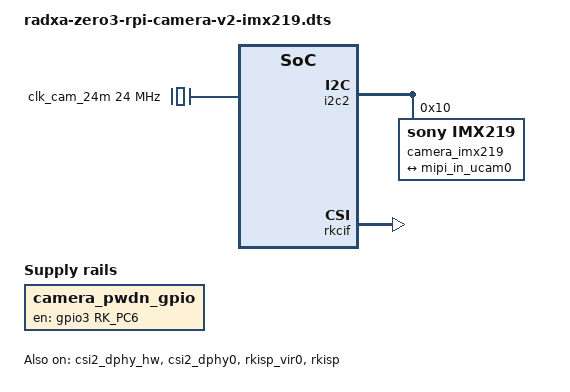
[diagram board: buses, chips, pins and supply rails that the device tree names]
/dts-v1/;
/plugin/;

#include <dt-bindings/gpio/gpio.h>
#include <dt-bindings/pinctrl/rockchip.h>

/ {
	metadata {
		title = "Enable Raspberry Pi Camera v2 (IMX219)";
		compatible = "radxa,zero3";
		category = "camera";
		exclusive = "csi2_dphy0";
		description = "Enable Raspberry Pi Camera v2 with IMX219 sensor on Radxa Zero 3.";
	};
};

/* 24MHz 外部时钟 */
&{/} {
	clk_cam_24m: external-camera-clock-24m {
		status = "okay";
		compatible = "fixed-clock";
		clock-frequency = <24000000>;
		clock-output-names = "clk_cam_24m";
		#clock-cells = <0>;
	};

	/* 摄像头电源使能 GPIO */
	camera_pwdn_gpio: camera-pwdn-gpio {
		status = "okay";
		compatible = "regulator-fixed";
		regulator-name = "camera_pwdn_gpio";
		regulator-always-on;
		regulator-boot-on;
		enable-active-high;
		gpio = <&gpio3 RK_PC6 GPIO_ACTIVE_HIGH>;
	};
};

/* I2C2 总线 - IMX219 传感器 */
&i2c2 {
	status = "okay";
	pinctrl-names = "default";
	pinctrl-0 = <&i2c2m1_xfer>;
	#address-cells = <1>;
	#size-cells = <0>;

	camera_imx219: camera-imx219@10 {
		status = "okay";
		compatible = "sony,imx219";
		reg = <0x10>;
		clocks = <&clk_cam_24m>;
		clock-names = "xvclk";
		rockchip,camera-module-index = <0>;
		rockchip,camera-module-facing = "back";
		rockchip,camera-module-name = "rpi-camera-v2";
		rockchip,camera-module-lens-name = "default";

		port {
			ucam_out0: endpoint {
				remote-endpoint = <&mipi_in_ucam0>;
				data-lanes = <1 2>;
			};
		};
	};
};

/* CSI D-PHY 硬件 */
&csi2_dphy_hw {
	status = "okay";
};

/* CSI D-PHY0 */
&csi2_dphy0 {
	status = "okay";

	ports {
		#address-cells = <1>;
		#size-cells = <0>;

		port@0 {
			reg = <0>;
			#address-cells = <1>;
			#size-cells = <0>;

			mipi_in_ucam0: endpoint@1 {
				reg = <1>;
				remote-endpoint = <&ucam_out0>;
				data-lanes = <1 2>;
			};
		};

		port@1 {
			reg = <1>;
			#address-cells = <1>;
			#size-cells = <0>;

			dphy0_out: endpoint@1 {
				reg = <1>;
				remote-endpoint = <&isp0_in>;
			};
		};
	};
};

/* RKISP 虚拟通道 0 */
&rkisp_vir0 {
	status = "okay";

	port {
		#address-cells = <1>;
		#size-cells = <0>;

		isp0_in: endpoint@0 {
			reg = <0>;
			remote-endpoint = <&dphy0_out>;
		};
	};
};

/* RKISP 主设备 */
&rkisp {
	status = "okay";
};

/* RKISP MMU */
&rkisp_mmu {
	status = "okay";
};

/* RKCIF MMU */
&rkcif_mmu {
	status = "okay";
};

/* RKCIF */
&rkcif {
	status = "okay";
};
